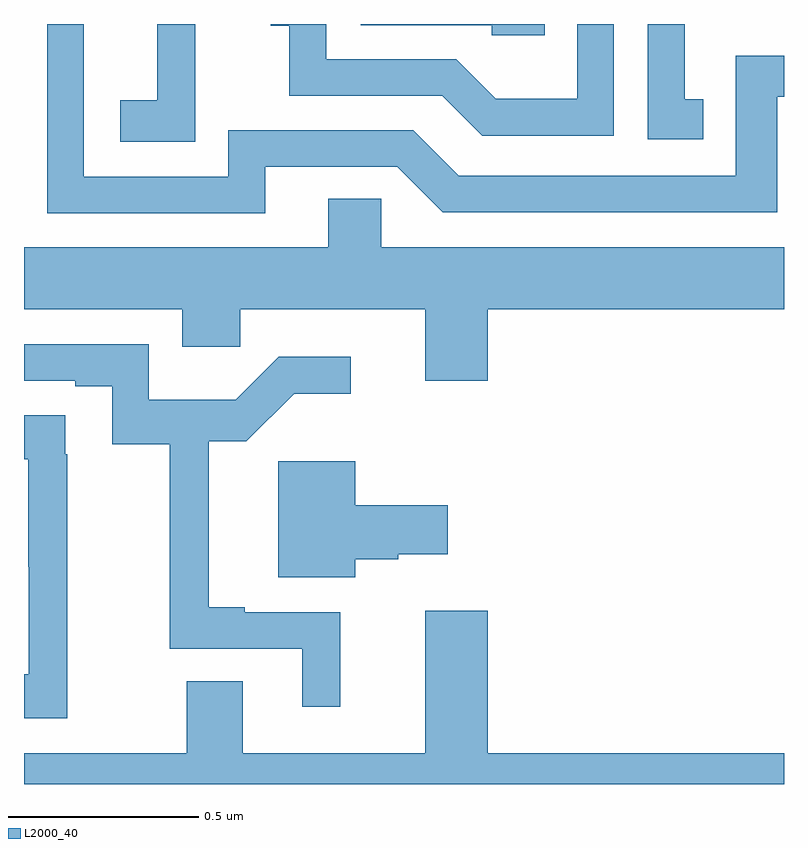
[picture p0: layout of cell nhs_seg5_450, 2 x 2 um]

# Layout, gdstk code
import gdstk
lib = gdstk.Library(unit=1e-6, precision=1e-09)
def P(c, l, *ps):  # polygons
    for p in ps: c.add(gdstk.Polygon(p, *l))
L2000_40 = (2000, 40)

nhs_seg5_450 = lib.new_cell('nhs_seg5_450')
P(nhs_seg5_450, L2000_40, [(117.552,902.799),(117.456,902.799),(117.456,902.602),(117.242,902.602),(117.138,902.706),(116.796,902.706),(116.796,902.799),(116.649,902.799),(116.649,902.795),(116.698,902.795),(116.698,902.61),(117.101,902.61),(117.206,902.505),(117.552,902.505)],
  [(117.371,902.799),(116.886,902.799),(116.886,902.796),(117.231,902.796),(117.231,902.769),(117.371,902.769)],
  [(116.451,902.695),(116.45,902.695),(116.45,902.799),(116.351,902.799),(116.351,902.599),(116.253,902.599),(116.253,902.489),(116.451,902.489)],
  [(116.635,902.424),(116.982,902.424),(117.102,902.304),(117.982,902.304),(117.982,902.607),(118,902.607),(118,902.715),(117.873,902.715),(117.873,902.4),(117.144,902.4),(117.024,902.52),(116.538,902.52),(116.538,902.397),(116.157,902.397),(116.157,902.799),(116.061,902.799),(116.061,902.301),(116.635,902.301)],
  [(117.788,902.601),(117.739,902.601),(117.739,902.799),(117.642,902.799),(117.642,902.496),(117.788,902.496)],
  [(117.22,902.048),(118,902.048),(118,902.212),(116.94,902.212),(116.94,902.339),(116.801,902.339),(116.801,902.212),(116,902.212),(116,902.048),(116.417,902.048),(116.417,901.95),(116.569,901.95),(116.569,902.048),(117.056,902.048),(117.056,901.86),(117.22,901.86)],
  [(116.832,901.251),(116.581,901.251),(116.581,901.264),(116.486,901.264),(116.486,901.701),(116.585,901.701),(116.711,901.826),(116.86,901.826),(116.86,901.923),(116.67,901.923),(116.557,901.81),(116.328,901.81),(116.328,901.956),(116,901.956),(116,901.86),(116.135,901.86),(116.135,901.846),(116.232,901.846),(116.232,901.693),(116.383,901.693),(116.383,901.155),(116.732,901.155),(116.732,901.002),(116.832,901.002)],
  [(116.114,901.667),(116.108,901.667),(116.108,901.769),(116,901.769),(116,901.654),(116.011,901.654),(116.011,901.371),(116.012,901.371),(116.012,901.088),(116,901.088),(116,900.972),(116.114,900.972)],
  [(116.872,901.391),(116.985,901.391),(116.985,901.403),(117.115,901.403),(117.115,901.533),(116.872,901.533),(116.872,901.648),(116.669,901.648),(116.669,901.343),(116.872,901.343)],
  [(118,900.88),(117.22,900.88),(117.22,901.255),(117.056,901.255),(117.056,900.88),(116.575,900.88),(116.575,901.07),(116.428,901.07),(116.428,900.88),(116,900.88),(116,900.799),(118,900.799)])

lib.write_gds('nhs_seg5_450.gds')
